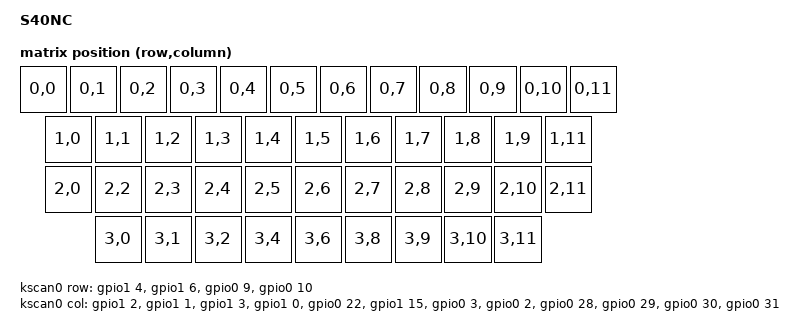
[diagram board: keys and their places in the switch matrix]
/*
 * Copyright (c) 2021 The ZMK Contributors
 *
 * SPDX-License-Identifier: MIT
 */

/dts-v1/;
#include <nordic/nrf52840_qiaa.dtsi>
#include <dt-bindings/zmk/matrix_transform.h>

/ {
	model = "S40NC";
	compatible = "s40nc";

	chosen {
		zephyr,code-partition = &code_partition;
		zephyr,sram = &sram0;
		zephyr,flash = &flash0;
		zmk,kscan = &kscan0;
		zmk,matrix_transform = &default_transform;
	};

	default_transform: keymap_transform_0 {
		compatible = "zmk,matrix-transform";
		columns = <12>;
		rows = <4>;
		map = <
            RC(0,0) RC(0,1) RC(0,2) RC(0,3) RC(0,4) RC(0,5) RC(0,6) RC(0,7) RC(0,8) RC(0,9) RC(0,10) RC(0,11)
            RC(1,0)  RC(1,1) RC(1,2) RC(1,3) RC(1,4) RC(1,5) RC(1,6) RC(1,7) RC(1,8) RC(1,9)         RC(1,11)
            RC(2,0)      RC(2,2)   RC(2,3) RC(2,4) RC(2,5) RC(2,6) RC(2,7) RC(2,8) RC(2,9) RC(2,10) RC(2,11)
            RC(3,0)  RC(3,1) RC(3,2)       RC(3,4)         RC(3,6)         RC(3,8) RC(3,9) RC(3,10) RC(3,11)
		>;
	};


	kscan0: kscan {
		compatible = "zmk,kscan-gpio-matrix";
		label = "KSCAN";

		diode-direction = "col2row";
		row-gpios
			= <&gpio1 4  (GPIO_ACTIVE_HIGH | GPIO_PULL_DOWN)>
			, <&gpio1 6  (GPIO_ACTIVE_HIGH | GPIO_PULL_DOWN)>
			, <&gpio0 9  (GPIO_ACTIVE_HIGH | GPIO_PULL_DOWN)>
			, <&gpio0 10 (GPIO_ACTIVE_HIGH | GPIO_PULL_DOWN)>
			;
		col-gpios
			= <&gpio1 2  GPIO_ACTIVE_HIGH>
			, <&gpio1 1  GPIO_ACTIVE_HIGH>
			, <&gpio1 3  GPIO_ACTIVE_HIGH>
			, <&gpio1 0  GPIO_ACTIVE_HIGH>
			, <&gpio0 22 GPIO_ACTIVE_HIGH>
			, <&gpio1 15 GPIO_ACTIVE_HIGH>
			, <&gpio0 3  GPIO_ACTIVE_HIGH>
			, <&gpio0 2  GPIO_ACTIVE_HIGH>
			, <&gpio0 28 GPIO_ACTIVE_HIGH>
			, <&gpio0 29 GPIO_ACTIVE_HIGH>
			, <&gpio0 30 GPIO_ACTIVE_HIGH>
			, <&gpio0 31 GPIO_ACTIVE_HIGH>
			;
	};

	leds {
		compatible = "gpio-leds";
		blue_led: led_0 {
			gpios = <&gpio0 21 GPIO_ACTIVE_HIGH>;
			label = "Blue LED";
		};
	};

	vbatt {
		compatible = "zmk,battery-voltage-divider";
		label = "BATTERY";
		io-channels = <&adc 2>;
		output-ohms = <2000000>;
		full-ohms = <(2000000 + 820000)>;
	};
};

&adc {
	status = "okay";
};

&gpiote {
	status = "okay";
};

&gpio0 {
	status = "okay";
};

&gpio1 {
	status = "okay";
};

&usbd {
	status = "okay";
};

&flash0 {
	/*
	 * For more information, see:
	 * http://docs.zephyrproject.org/latest/devices/dts/flash_partitions.html
	 */
	partitions {
		compatible = "fixed-partitions";
		#address-cells = <1>;
		#size-cells = <1>;

		sd_partition: partition@0 {
			label = "mbr";
			reg = <0x00000000 0x00001000>;
		};

		code_partition: partition@1000 {
			label = "code_partition";
			reg = <0x00001000 0x000d3000>;
		};

		/*
		 * The flash starting at 0x000d4000 and ending at
		 * 0x000f3fff is reserved for use by the application.
		 */

		/*
		 * Storage partition will be used by FCB/LittleFS/NVS
		 * if enabled.
		 */
		storage_partition: partition@d4000 {
			label = "storage";
			reg = <0x000d4000 0x00020000>;
		};

		boot_partition: partition@f4000 {
			label = "adafruit_boot";
			reg = <0x000f4000 0x0000c000>;
		};
	};
};
